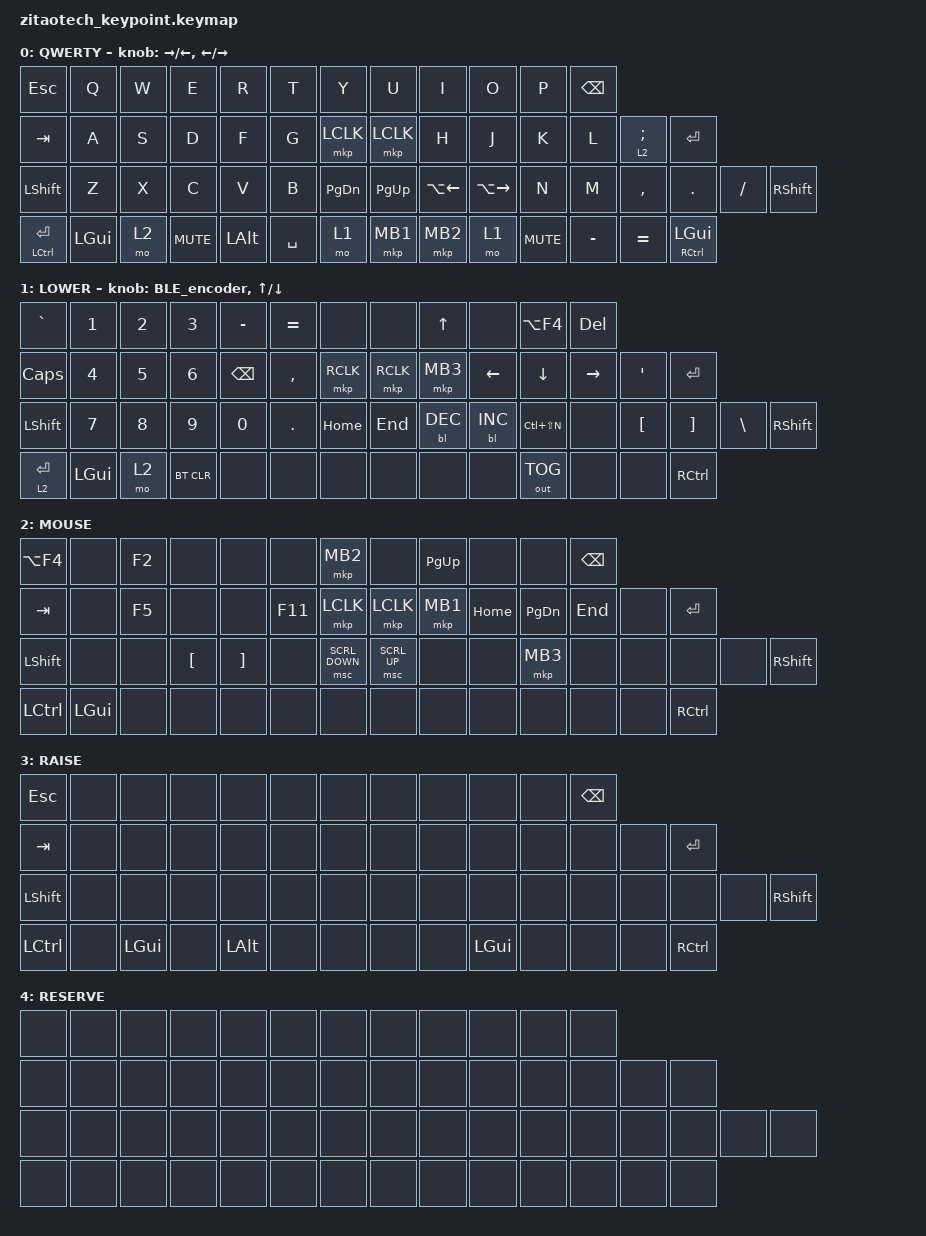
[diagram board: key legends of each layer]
/*
 * Copyright (c) 2025 ZitaoTech
 *
 * SPDX-License-Identifier: MIT
 */

#include <dt-bindings/zmk/mouse.h>
#include <behaviors.dtsi>
#include <dt-bindings/zmk/backlight.h>
#include <dt-bindings/zmk/bt.h>
#include <dt-bindings/zmk/keys.h>
#include <dt-bindings/zmk/outputs.h>
#include <dt-bindings/zmk/pointing.h>

#define LOWER 1
#define RAISE 2
#define MOUSE 3
#define BOT bootloader

/ {
    behaviors {
        td0: tap_dance_0 {
            compatible = "zmk,behavior-tap-dance";
            #binding-cells = <0>;
            tapping-term-ms = <400>;
            bindings = <&mkp LCLK>, <&bt BT_CLR>;
        };
    };

    behaviors {
        tdRMCLK: tap_dance_R_LMouse {
            compatible = "zmk,behavior-tap-dance";
            #binding-cells = <0>;
            tapping-term-ms = <400>;
            bindings = <&mkp RCLK>, <&mkp MCLK>;
        };
    };

    behaviors {
        hm: homerow_mods {
            compatible = "zmk,behavior-hold-tap";
            #binding-cells = <2>;
            tapping-term-ms = <500>;
            bindings = <&kp &kp>;
        };
    };

    behaviors {
        LMouse_sc: behavior_LMouse_Scroll {
            compatible = "zmk,behavior-hold-tap";
            #binding-cells = <2>;
            flavor = "tap-preferred";     /* 单击优先 */
            tapping-term-ms = <200>;       /* 长按阈值 */
            bindings = <&none &mkp>;        /* hold=none, tap=Lmouse */
        };
    };

    behaviors {
        M_kp: behavior_mouse_keypress {
            compatible = "zmk,behavior-hold-tap";
            #binding-cells = <2>;
            flavor = "tap-preferred";     /* 单击优先 */
            tapping-term-ms = <200>;       /* 长按阈值 */
            bindings = <&mkp &kp>;        /* hold=mou key press, tap=key*/
        };
    };

    behaviors {
        BLE_encoder: BLE_encoder {
            compatible = "zmk,behavior-sensor-rotate";
            #sensor-binding-cells = <0>;
            bindings = <&bt BT_NXT>, <&bt BT_PRV>;
        };
    };

    keymap {
        compatible = "zmk,keymap";

        default_layer {
            display-name = "QWERTY";
            bindings = <
&kp ESC          &kp Q         &kp W  &kp E       &kp R         &kp T      &kp Y      &kp U      &kp I               &kp O                &kp P       &kp BSPC
&kp TAB          &kp A         &kp S  &kp D       &kp F         &kp G      &mkp LCLK  &mkp LCLK  &kp H               &kp J                &kp K       &kp L      &lt 2 SEMI  &kp ENTER
&kp LSHFT        &kp Z         &kp X  &kp C       &kp V         &kp B      &kp PG_DN  &kp PG_UP  &kp LA(LEFT_ARROW)  &kp LA(RIGHT_ARROW)  &kp N       &kp M      &kp COMMA   &kp DOT             &kp FSLH  &kp RSHFT
&mt LCTRL ENTER  &kp LEFT_GUI  &mo 2  &kp C_MUTE  &kp LEFT_ALT  &kp SPACE  &mo 1      &mkp MB1   &mkp MB2            &mo 1                &kp C_MUTE  &kp MINUS  &kp EQUAL   &mt RCTRL LEFT_GUI
            >;

            sensor-bindings =
                <&inc_dec_kp RIGHT LEFT>,
                <&inc_dec_kp LEFT RIGHT>;
        };

        lower_layer {
            display-name = "LOWER";
            bindings = <
&kp GRAVE       &kp NUMBER_1  &kp NUMBER_2  &kp NUMBER_3  &kp MINUS      &kp EQUAL   &none      &none      &kp UP_ARROW  &none       &kp LA(F4)      &kp DEL
&kp CAPS        &kp NUMBER_4  &kp NUMBER_5  &kp NUMBER_6  &kp BACKSPACE  &kp COMMA   &mkp RCLK  &mkp RCLK  &mkp MB3      &kp LEFT    &kp DOWN_ARROW  &kp RIGHT  &kp SQT   &kp ENTER
&kp LEFT_SHIFT  &kp NUMBER_7  &kp NUMBER_8  &kp NUMBER_9  &kp NUMBER_0   &kp PERIOD  &kp HOME   &kp END    &bl BL_DEC    &bl BL_INC  &kp LC(LS(N))   &none      &kp LBKT  &kp RBKT   &kp BACKSLASH  &kp RIGHT_SHIFT
&lt 2 ENTER     &kp LEFT_GUI  &mo 2         &bt BT_CLR    &none          &none       &none      &none      &none         &none       &out OUT_TOG    &none      &none     &kp RCTRL
            >;

            sensor-bindings = <&BLE_encoder &inc_dec_kp UP DOWN>;
        };

        MOUSE_layer {
            display-name = "MOUSE";
            bindings = <
&kp LA(F4)  &none         &kp F2  &none             &none              &none    &mkp MB2        &none         &kp PAGE_UP  &none     &none          &kp BSPC
&kp TAB     &none         &kp F5  &none             &none              &kp F11  &mkp LCLK       &mkp LCLK     &mkp MB1     &kp HOME  &kp PAGE_DOWN  &kp END   &none  &kp ENTER
&kp LSHFT   &none         &none   &kp LEFT_BRACKET  &kp RIGHT_BRACKET  &none    &msc SCRL_DOWN  &msc SCRL_UP  &none        &none     &mkp MB3       &none     &none  &none      &none  &kp RSHFT
&kp LCTRL   &kp LEFT_GUI  &none   &none             &none              &none    &none           &none         &none        &none     &none          &none     &none  &kp RCTRL
            >;
        };

        raise_layer {
            display-name = "RAISE";
            bindings = <
&kp ESC    &none  &none         &none  &none         &none  &none  &none  &none  &none         &none  &kp BACKSPACE
&kp TAB    &none  &none         &none  &none         &none  &none  &none  &none  &none         &none  &none          &none  &kp ENTER
&kp LSHFT  &none  &none         &none  &none         &none  &none  &none  &none  &none         &none  &none          &none  &none      &none  &kp RIGHT_SHIFT
&kp LCTRL  &none  &kp LEFT_GUI  &none  &kp LEFT_ALT  &none  &none  &none  &none  &kp LEFT_GUI  &none  &none          &none  &kp RCTRL
            >;
        };

        RES_layer {
            display-name = "RESERVE";
            bindings = <
&none  &none  &none  &none  &none  &none  &none  &none  &none  &none  &none  &none
&none  &none  &none  &none  &none  &none  &none  &none  &none  &none  &none  &none  &none  &none
&none  &none  &none  &none  &none  &none  &none  &none  &none  &none  &none  &none  &none  &none  &none  &none
&none  &none  &none  &none  &none  &none  &none  &none  &none  &none  &none  &none  &none  &none
            >;
        };
    };
};
